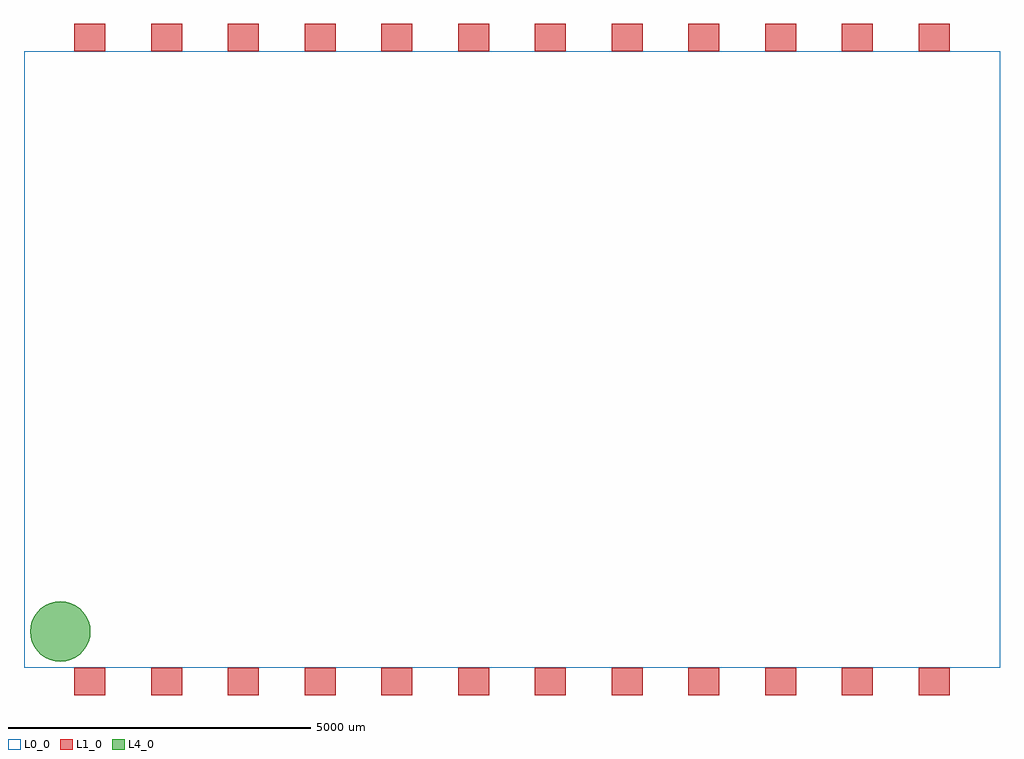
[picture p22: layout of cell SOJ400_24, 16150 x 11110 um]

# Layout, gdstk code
import gdstk
lib = gdstk.Library(unit=1e-6, precision=1e-09)
def R(c, l, rs):  # rectangles x0, y0, x1, y1
    for r in rs: c.add(gdstk.rectangle(r[:2], r[2:], *l))
def A(c, l, x, y, w, h, nx, ny, dx, dy):  # array of equal rectangles
    R(c, l, [(x+i*dx, y+j*dy, x+i*dx+w, y+j*dy+h) for i in range(nx) for j in range(ny)])
def P(c, l, *ps):  # polygons
    for p in ps: c.add(gdstk.Polygon(p, *l))
L0_0 = (0, 0)
L1_0 = (1, 0)
L4_0 = (4, 0)
L99_1 = (99, 1)
L99_2 = (99, 2)
L99_3 = (99, 3)
L99_4 = (99, 4)
L99_5 = (99, 5)
L99_6 = (99, 6)
L99_7 = (99, 7)
L99_8 = (99, 8)
L99_9 = (99, 9)
L99_10 = (99, 10)
L99_11 = (99, 11)
L99_12 = (99, 12)
L99_13 = (99, 13)
L99_14 = (99, 14)
L99_15 = (99, 15)
L99_16 = (99, 16)
L99_17 = (99, 17)
L99_18 = (99, 18)
L99_19 = (99, 19)
L99_20 = (99, 20)
L99_21 = (99, 21)
L99_22 = (99, 22)
L99_23 = (99, 23)
L99_24 = (99, 24)

soj400_24 = lib.new_cell('SOJ400_24')
R(soj400_24, L0_0, [(0,0,16150,10200)])
A(soj400_24, L1_0, 835, -455, 510, 455, 12, 2, 1270, 10655)
P(soj400_24, L4_0, [(1100,600),(1092.404,513.176),(1069.846,428.99),(1033.013,350),(983.022,278.606),(921.394,216.978),(850,166.987),(771.01,130.154),(686.824,107.596),(600,100),(513.176,107.596),(428.99,130.154),(350,166.987),(278.606,216.978),(216.978,278.606),(166.987,350),(130.154,428.99),(107.596,513.176),(100,600),(107.596,686.824),(130.154,771.01),(166.987,850),(216.978,921.394),(278.606,983.022),(350,1033.013),(428.99,1069.846),(513.176,1092.404),(600,1100),(686.824,1092.404),(771.01,1069.846),(850,1033.013),(921.394,983.022),(983.022,921.394),(1033.013,850),(1069.846,771.01),(1092.404,686.824)])
soj400_24.add(gdstk.FlexPath([(1345,0),(835,0)], 0, ends="round", simple_path=True, layer=99, datatype=1))  # L99_1
soj400_24.add(gdstk.FlexPath([(2615,0),(2105,0)], 0, ends="round", simple_path=True, layer=99, datatype=2))  # L99_2
soj400_24.add(gdstk.FlexPath([(3885,0),(3375,0)], 0, ends="round", simple_path=True, layer=99, datatype=3))  # L99_3
soj400_24.add(gdstk.FlexPath([(5155,0),(4645,0)], 0, ends="round", simple_path=True, layer=99, datatype=4))  # L99_4
soj400_24.add(gdstk.FlexPath([(6425,0),(5915,0)], 0, ends="round", simple_path=True, layer=99, datatype=5))  # L99_5
soj400_24.add(gdstk.FlexPath([(7695,0),(7185,0)], 0, ends="round", simple_path=True, layer=99, datatype=6))  # L99_6
soj400_24.add(gdstk.FlexPath([(8965,0),(8455,0)], 0, ends="round", simple_path=True, layer=99, datatype=7))  # L99_7
soj400_24.add(gdstk.FlexPath([(10235,0),(9725,0)], 0, ends="round", simple_path=True, layer=99, datatype=8))  # L99_8
soj400_24.add(gdstk.FlexPath([(11505,0),(10995,0)], 0, ends="round", simple_path=True, layer=99, datatype=9))  # L99_9
soj400_24.add(gdstk.FlexPath([(12775,0),(12265,0)], 0, ends="round", simple_path=True, layer=99, datatype=10))  # L99_10
soj400_24.add(gdstk.FlexPath([(14045,0),(13535,0)], 0, ends="round", simple_path=True, layer=99, datatype=11))  # L99_11
soj400_24.add(gdstk.FlexPath([(15315,0),(14805,0)], 0, ends="round", simple_path=True, layer=99, datatype=12))  # L99_12
soj400_24.add(gdstk.FlexPath([(835,10200),(1345,10200)], 0, ends="round", simple_path=True, layer=99, datatype=24))  # L99_24
soj400_24.add(gdstk.FlexPath([(2105,10200),(2615,10200)], 0, ends="round", simple_path=True, layer=99, datatype=23))  # L99_23
soj400_24.add(gdstk.FlexPath([(3375,10200),(3885,10200)], 0, ends="round", simple_path=True, layer=99, datatype=22))  # L99_22
soj400_24.add(gdstk.FlexPath([(4645,10200),(5155,10200)], 0, ends="round", simple_path=True, layer=99, datatype=21))  # L99_21
soj400_24.add(gdstk.FlexPath([(5915,10200),(6425,10200)], 0, ends="round", simple_path=True, layer=99, datatype=20))  # L99_20
soj400_24.add(gdstk.FlexPath([(7185,10200),(7695,10200)], 0, ends="round", simple_path=True, layer=99, datatype=19))  # L99_19
soj400_24.add(gdstk.FlexPath([(8455,10200),(8965,10200)], 0, ends="round", simple_path=True, layer=99, datatype=18))  # L99_18
soj400_24.add(gdstk.FlexPath([(9725,10200),(10235,10200)], 0, ends="round", simple_path=True, layer=99, datatype=17))  # L99_17
soj400_24.add(gdstk.FlexPath([(10995,10200),(11505,10200)], 0, ends="round", simple_path=True, layer=99, datatype=16))  # L99_16
soj400_24.add(gdstk.FlexPath([(12265,10200),(12775,10200)], 0, ends="round", simple_path=True, layer=99, datatype=15))  # L99_15
soj400_24.add(gdstk.FlexPath([(13535,10200),(14045,10200)], 0, ends="round", simple_path=True, layer=99, datatype=14))  # L99_14
soj400_24.add(gdstk.FlexPath([(14805,10200),(15315,10200)], 0, ends="round", simple_path=True, layer=99, datatype=13))  # L99_13

lib.write_gds('SOJ400_24.gds')
